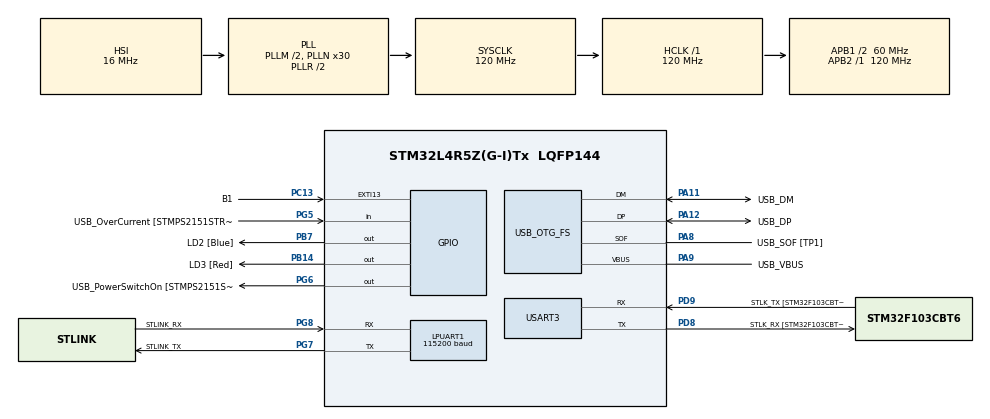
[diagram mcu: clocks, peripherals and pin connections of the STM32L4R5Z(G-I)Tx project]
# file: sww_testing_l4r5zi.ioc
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LPUART1.BaudRate=115200
LPUART1.StopBits=UART_STOPBITS_2
LPUART1.WordLength=UART_WORDLENGTH_8B
Mcu.Family=STM32L4
Mcu.Name=STM32L4R5Z(G-I)Tx
Mcu.Package=LQFP144
NVIC.PriorityGroup=NVIC_PRIORITYGROUP_4
PA10.GPIO_Label=USB_ID
PA10.Signal=USB_OTG_FS_ID
PA11.GPIO_Label=USB_DM
PA11.Mode=Device_Only
PA11.Signal=USB_OTG_FS_DM
PA12.GPIO_Label=USB_DP
PA12.Mode=Device_Only
PA12.Signal=USB_OTG_FS_DP
PA13\ (JTMS/SWDIO).GPIO_Label=TMS
PA13\ (JTMS/SWDIO).Mode=Trace_Asynchronous_SW
PA13\ (JTMS/SWDIO).Signal=SYS_JTMS-SWDIO
PA14\ (JTCK/SWCLK).GPIO_Label=TCK
PA14\ (JTCK/SWCLK).Mode=Trace_Asynchronous_SW
PA14\ (JTCK/SWCLK).Signal=SYS_JTCK-SWCLK
PA8.GPIO_Label=USB_SOF [TP1]
PA8.Mode=Activate_SOF_FS
PA8.Signal=USB_OTG_FS_SOF
PA9.GPIO_Label=USB_VBUS
PA9.Mode=Activate_VBUS
PA9.Signal=USB_OTG_FS_VBUS
PB14.GPIO_Label=LD3 [Red]
PB14.Signal=GPIO_Output
PB3\ (JTDO/TRACESWO).GPIO_Label=SWO
PB3\ (JTDO/TRACESWO).Mode=Trace_Asynchronous_SW
PB3\ (JTDO/TRACESWO).Signal=SYS_JTDO-SWO
PB7.GPIO_Label=LD2 [Blue]
PB7.Signal=GPIO_Output
PC13.GPIO_Label=B1
PC13.Signal=GPXTI13
PC14-OSC32_IN\ (PC14).Mode=LSE-External-Oscillator
PC14-OSC32_IN\ (PC14).Signal=RCC_OSC32_IN
PC15-OSC32_OUT\ (PC15).Mode=LSE-External-Oscillator
PC15-OSC32_OUT\ (PC15).Signal=RCC_OSC32_OUT
PD8.GPIO_Label=STLK_RX [STM32F103CBT6_PA3]
PD8.Mode=Asynchronous
PD8.Signal=USART3_TX
PD9.GPIO_Label=STLK_TX [STM32F103CBT6_PA2]
PD9.Mode=Asynchronous
PD9.Signal=USART3_RX
PG5.GPIO_Label=USB_OverCurrent [STMPS2151STR_FAULT]
PG5.Signal=GPIO_Input
PG6.GPIO_Label=USB_PowerSwitchOn [STMPS2151STR_EN]
PG6.Signal=GPIO_Output
PG7.GPIO_Label=STLINK_TX
PG7.Mode=Asynchronous
PG7.Signal=LPUART1_TX
PG8.GPIO_Label=STLINK_RX
PG8.Mode=Asynchronous
PG8.Signal=LPUART1_RX
PH0-OSC_IN\ (PH0).Signal=RCC_OSC_IN
PH1-OSC_OUT\ (PH1).Signal=RCC_OSC_OUT
ProjectManager.HeapSize=0x800
ProjectManager.StackSize=0x800
ProjectManager.TargetToolchain=STM32CubeIDE
RCC.48MHZClocksFreq_Value=24000000
RCC.ADCFreq_Value=96000000
RCC.AHBFreq_Value=120000000
RCC.APB1CLKDivider=RCC_HCLK_DIV2
RCC.APB1Freq_Value=60000000
RCC.APB1TimFreq_Value=120000000
RCC.APB2Freq_Value=120000000
RCC.APB2TimFreq_Value=120000000
RCC.CK48CLockSelection=RCC_USBCLKSOURCE_HSI48
RCC.CortexFreq_Value=120000000
RCC.HCLKFreq_Value=120000000
RCC.HSE_VALUE=8000000
RCC.HSI48_VALUE=48000000
RCC.HSI_VALUE=16000000
RCC.MSI_VALUE=4000000
RCC.PLLM1=2
RCC.PLLMUL=RCC_PLL_MUL9
RCC.PLLN=30
RCC.PLLSAI1N=12
RCC.PLLSourceVirtual=RCC_PLLSOURCE_HSI
RCC.PRESCALERUSB=RCC_USBCLKSOURCE_PLL_DIV1_5
RCC.SYSCLKFreq_VALUE=120000000
RCC.SYSCLKSource=RCC_SYSCLKSOURCE_PLLCLK
RCC.SYSCLKSourceVirtual=RCC_SYSCLKSOURCE_PLLCLK
RCC.USBFreq_Value=48000000
RCC.VCOOutputFreq_Value=240000000
STMicroelectronics.X-CUBE-AI.9.1.0.ActivationBufferSizeList=5836
STMicroelectronics.X-CUBE-AI.9.1.0.ActivationBuffers=pool0
STMicroelectronics.X-CUBE-AI.9.1.0.ActivationNames=pool0
STMicroelectronics.X-CUBE-AI.9.1.0.ActivationSizes=AI_SWW_MODEL_DATA_ACTIVATION_1_SIZE
STMicroelectronics.X-CUBE-AI.9.1.0.HeapSize=0x800
STMicroelectronics.X-CUBE-AI.9.1.0.InternalRamActivationBufferMaxSize=AI_SWW_MODEL_DATA_ACTIVATIONS_SIZE
STMicroelectronics.X-CUBE-AI.9.1.0.LatestDirectoryUsed-2c55a473fe2cb7c748ffe10757a75eb16c549e0110a52bf4822234593712c284=/Users/jeremy/dev/tiny_mlperf/tiny_jhsyn/benchmark/training/streaming_wakeword/trained_models
STMicroelectronics.X-CUBE-AI.9.1.0.MaximumNumberOfInputLayer=1
STMicroelectronics.X-CUBE-AI.9.1.0.MaximumNumberOfOutputLayer=1
STMicroelectronics.X-CUBE-AI.9.1.0.MaximumSizeOfInputLayer=1
STMicroelectronics.X-CUBE-AI.9.1.0.MaximumSizeOfOutputLayer=1
STMicroelectronics.X-CUBE-AI.9.1.0.ModelActualCompression-2c55a473fe2cb7c748ffe10757a75eb16c549e0110a52bf4822234593712c284=0.0
STMicroelectronics.X-CUBE-AI.9.1.0.ModelCompression-2c55a473fe2cb7c748ffe10757a75eb16c549e0110a52bf4822234593712c284=None
STMicroelectronics.X-CUBE-AI.9.1.0.ModelFlashOccupation-2c55a473fe2cb7c748ffe10757a75eb16c549e0110a52bf4822234593712c284=23520
STMicroelectronics.X-CUBE-AI.9.1.0.ModelHashList=2c55a473fe2cb7c748ffe10757a75eb16c549e0110a52bf4822234593712c284
STMicroelectronics.X-CUBE-AI.9.1.0.ModelKind-2c55a473fe2cb7c748ffe10757a75eb16c549e0110a52bf4822234593712c284=TFLITE
STMicroelectronics.X-CUBE-AI.9.1.0.ModelMacc-2c55a473fe2cb7c748ffe10757a75eb16c549e0110a52bf4822234593712c284=652551
STMicroelectronics.X-CUBE-AI.9.1.0.ModelName-2c55a473fe2cb7c748ffe10757a75eb16c549e0110a52bf4822234593712c284=sww_model
STMicroelectronics.X-CUBE-AI.9.1.0.ModelNameList=sww_model
STMicroelectronics.X-CUBE-AI.9.1.0.ModelRamOccupation-2c55a473fe2cb7c748ffe10757a75eb16c549e0110a52bf4822234593712c284=5836
STMicroelectronics.X-CUBE-AI.9.1.0.ModelStructureFile-2c55a473fe2cb7c748ffe10757a75eb16c549e0110a52bf4822234593712c284=/Users/jeremy/dev/tiny_mlperf/tiny_jhsyn/benchmark/training/streaming_wakeword/trained_models/strm_ww_int8.tflite
STMicroelectronics.X-CUBE-AI.9.1.0.ModelType-2c55a473fe2cb7c748ffe10757a75eb16c549e0110a52bf4822234593712c284=STM32Cube.AI MCU runtime
STMicroelectronics.X-CUBE-AI.9.1.0.ReadyForCodeGeneration=true
STMicroelectronics.X-CUBE-AI.9.1.0.StackSize=0x800
STMicroelectronics.X-CUBE-AI.9.1.0.WorkingBufferStartAddrList=0xFFFFFFFF
STMicroelectronics.X-CUBE-AI.9.1.0.XAaCUBEAaAICcArtificialOoIntelligenceJjCore=true
STMicroelectronics.X-CUBE-AI.9.1.0.copyWeightToRam=false
STMicroelectronics.X-CUBE-AI.9.1.0.copyWeightToRam-2c55a473fe2cb7c748ffe10757a75eb16c549e0110a52bf4822234593712c284=false
STMicroelectronics.X-CUBE-AI.9.1.0.customLayerConfigEnabled=false
STMicroelectronics.X-CUBE-AI.9.1.0.customLayerConfigEnabled-2c55a473fe2cb7c748ffe10757a75eb16c549e0110a52bf4822234593712c284=false
STMicroelectronics.X-CUBE-AI.9.1.0.noOnnxIoTranspose=false
STMicroelectronics.X-CUBE-AI.9.1.0.noOnnxIoTranspose-2c55a473fe2cb7c748ffe10757a75eb16c549e0110a52bf4822234593712c284=false
STMicroelectronics.X-CUBE-AI.9.1.0.outputDirectory=/Users/jeremy/.stm32cubemx/sww_model_output
STMicroelectronics.X-CUBE-AI.9.1.0.useInputAllocation=true
STMicroelectronics.X-CUBE-AI.9.1.0.useInputAllocation-2c55a473fe2cb7c748ffe10757a75eb16c549e0110a52bf4822234593712c284=true
STMicroelectronics.X-CUBE-AI.9.1.0.useOutputAllocation=true
STMicroelectronics.X-CUBE-AI.9.1.0.useOutputAllocation-2c55a473fe2cb7c748ffe10757a75eb16c549e0110a52bf4822234593712c284=true
USART3.VirtualMode-Asynchronous=VM_ASYNC
USB_OTG_FS.VirtualMode=Device_Only
VP_STMicroelectronics.X-CUBE-AI_VS_ArtificialOoIntelligenceJjXAaCUBEAaAI_9.1.0.Mode=ArtificialOoIntelligenceJjXAaCUBEAaAI
board=NUCLEO-L4R5ZI

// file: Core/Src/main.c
/* USER CODE BEGIN Header */
/**
  ******************************************************************************
  * @file           : main.c
  * @brief          : Main program body
  ******************************************************************************
  * @attention
  *
  * Copyright (c) 2025 STMicroelectronics.
  * All rights reserved.
  *
  * This software is licensed under terms that can be found in the LICENSE file
  * in the root directory of this software component.
  * If no LICENSE file comes with this software, it is provided AS-IS.
  *
  ******************************************************************************
  */
/* USER CODE END Header */
#include "main.h"

/* USER CODE BEGIN Includes */

#include <string.h>
#include <stdlib.h>
#include <stdio.h>
#include <stdarg.h>

// needed for running the model and/or initializing inference setup
#include "sww_model.h"
#include "sww_model_data.h"
#include "model_test_inputs.h"

#include "sww_util.h"

/* USER CODE END Includes */

UART_HandleTypeDef hlpuart1;
UART_HandleTypeDef huart3;

PCD_HandleTypeDef hpcd_USB_OTG_FS;

void SystemClock_Config(void);
static void MX_GPIO_Init(void);
static void MX_LPUART1_UART_Init(void);
static void MX_USART3_UART_Init(void);
static void MX_USB_OTG_FS_PCD_Init(void);

/* USER CODE BEGIN 0 */
// These defines and this function are to get printf() working
#ifdef __GNUC__
#define PUTCHAR_PROTOTYPE int __io_putchar(int ch)
#else
#define PUTCHAR_PROTOTYPE int fputc(int ch, FILE *f)
#endif

PUTCHAR_PROTOTYPE
{
  HAL_UART_Transmit(&hlpuart1, (uint8_t *)&ch, 1, HAL_MAX_DELAY);
  return ch;
}

/* USER CODE END 0 */

int main(void)
{

  /* USER CODE BEGIN 1 */
  // And for UART (over USB) connection to host
  uint32_t uart_timeout_ms = 200;
  uint32_t uart_status;
  /* USER CODE END 1 */

  /* MCU Configuration--------------------------------------------------------*/

  /* Reset of all peripherals, Initializes the Flash interface and the Systick. */
  HAL_Init();

  /* Configure the system clock */
  SystemClock_Config();

  /* Initialize all configured peripherals */
  MX_GPIO_Init();
  MX_LPUART1_UART_Init();
  MX_USART3_UART_Init();
  MX_USB_OTG_FS_PCD_Init();

  /* Infinite loop */
  /* USER CODE BEGIN WHILE */
  aiInit();
  char ch_from_uart= (char) 0;

  while (1)
  {
	  uart_status = HAL_UART_Receive(&hlpuart1, (uint8_t *)&ch_from_uart, 1, uart_timeout_ms);
	  if(uart_status == HAL_OK) {// otherwise timeout => no key input
		  ee_serial_callback(ch_from_uart);
	  }
    /* USER CODE END WHILE */

  }
}

void SystemClock_Config(void)
{
  RCC_OscInitTypeDef RCC_OscInitStruct = {0};
  RCC_ClkInitTypeDef RCC_ClkInitStruct = {0};

  /** Configure the main internal regulator output voltage
  */
  if (HAL_PWREx_ControlVoltageScaling(PWR_REGULATOR_VOLTAGE_SCALE1_BOOST) != HAL_OK)
  {
    Error_Handler();
  }

  /** Initializes the RCC Oscillators according to the specified parameters
  * in the RCC_OscInitTypeDef structure.
  */
  RCC_OscInitStruct.OscillatorType = RCC_OSCILLATORTYPE_HSI48|RCC_OSCILLATORTYPE_HSI;
  RCC_OscInitStruct.HSIState = RCC_HSI_ON;
  RCC_OscInitStruct.HSI48State = RCC_HSI48_ON;
  RCC_OscInitStruct.HSICalibrationValue = RCC_HSICALIBRATION_DEFAULT;
  RCC_OscInitStruct.PLL.PLLState = RCC_PLL_ON;
  RCC_OscInitStruct.PLL.PLLSource = RCC_PLLSOURCE_HSI;
  RCC_OscInitStruct.PLL.PLLM = 2;
  RCC_OscInitStruct.PLL.PLLN = 30;
  RCC_OscInitStruct.PLL.PLLP = RCC_PLLP_DIV2;
  RCC_OscInitStruct.PLL.PLLQ = RCC_PLLQ_DIV2;
  RCC_OscInitStruct.PLL.PLLR = RCC_PLLR_DIV2;
  if (HAL_RCC_OscConfig(&RCC_OscInitStruct) != HAL_OK)
  {
    Error_Handler();
  }

  /** Initializes the CPU, AHB and APB buses clocks
  */
  RCC_ClkInitStruct.ClockType = RCC_CLOCKTYPE_HCLK|RCC_CLOCKTYPE_SYSCLK
                              |RCC_CLOCKTYPE_PCLK1|RCC_CLOCKTYPE_PCLK2;
  RCC_ClkInitStruct.SYSCLKSource = RCC_SYSCLKSOURCE_PLLCLK;
  RCC_ClkInitStruct.AHBCLKDivider = RCC_SYSCLK_DIV1;
  RCC_ClkInitStruct.APB1CLKDivider = RCC_HCLK_DIV2;
  RCC_ClkInitStruct.APB2CLKDivider = RCC_HCLK_DIV1;

  if (HAL_RCC_ClockConfig(&RCC_ClkInitStruct, FLASH_LATENCY_5) != HAL_OK)
  {
    Error_Handler();
  }
}

static void MX_LPUART1_UART_Init(void)
{

  hlpuart1.Instance = LPUART1;
  hlpuart1.Init.BaudRate = 115200;
  hlpuart1.Init.WordLength = UART_WORDLENGTH_8B;
  hlpuart1.Init.StopBits = UART_STOPBITS_2;
  hlpuart1.Init.Parity = UART_PARITY_NONE;
  hlpuart1.Init.Mode = UART_MODE_TX_RX;
  hlpuart1.Init.HwFlowCtl = UART_HWCONTROL_NONE;
  hlpuart1.Init.OneBitSampling = UART_ONE_BIT_SAMPLE_DISABLE;
  hlpuart1.Init.ClockPrescaler = UART_PRESCALER_DIV1;
  hlpuart1.AdvancedInit.AdvFeatureInit = UART_ADVFEATURE_NO_INIT;
  hlpuart1.FifoMode = UART_FIFOMODE_DISABLE;
  if (HAL_UART_Init(&hlpuart1) != HAL_OK)
  {
    Error_Handler();
  }
  if (HAL_UARTEx_SetTxFifoThreshold(&hlpuart1, UART_TXFIFO_THRESHOLD_1_8) != HAL_OK)
  {
    Error_Handler();
  }
  if (HAL_UARTEx_SetRxFifoThreshold(&hlpuart1, UART_RXFIFO_THRESHOLD_1_8) != HAL_OK)
  {
    Error_Handler();
  }
  if (HAL_UARTEx_DisableFifoMode(&hlpuart1) != HAL_OK)
  {
    Error_Handler();
  }

}

static void MX_USART3_UART_Init(void)
{

  huart3.Instance = USART3;
  huart3.Init.BaudRate = 115200;
  huart3.Init.WordLength = UART_WORDLENGTH_8B;
  huart3.Init.StopBits = UART_STOPBITS_1;
  huart3.Init.Parity = UART_PARITY_NONE;
  huart3.Init.Mode = UART_MODE_TX_RX;
  huart3.Init.HwFlowCtl = UART_HWCONTROL_NONE;
  huart3.Init.OverSampling = UART_OVERSAMPLING_16;
  huart3.Init.OneBitSampling = UART_ONE_BIT_SAMPLE_DISABLE;
  huart3.Init.ClockPrescaler = UART_PRESCALER_DIV1;
  huart3.AdvancedInit.AdvFeatureInit = UART_ADVFEATURE_NO_INIT;
  if (HAL_UART_Init(&huart3) != HAL_OK)
  {
    Error_Handler();
  }
  if (HAL_UARTEx_SetTxFifoThreshold(&huart3, UART_TXFIFO_THRESHOLD_1_8) != HAL_OK)
  {
    Error_Handler();
  }
  if (HAL_UARTEx_SetRxFifoThreshold(&huart3, UART_RXFIFO_THRESHOLD_1_8) != HAL_OK)
  {
    Error_Handler();
  }
  if (HAL_UARTEx_DisableFifoMode(&huart3) != HAL_OK)
  {
    Error_Handler();
  }

}

static void MX_USB_OTG_FS_PCD_Init(void)
{

  hpcd_USB_OTG_FS.Instance = USB_OTG_FS;
  hpcd_USB_OTG_FS.Init.dev_endpoints = 6;
  hpcd_USB_OTG_FS.Init.speed = PCD_SPEED_FULL;
  hpcd_USB_OTG_FS.Init.phy_itface = PCD_PHY_EMBEDDED;
  hpcd_USB_OTG_FS.Init.Sof_enable = ENABLE;
  hpcd_USB_OTG_FS.Init.low_power_enable = DISABLE;
  hpcd_USB_OTG_FS.Init.lpm_enable = DISABLE;
  hpcd_USB_OTG_FS.Init.battery_charging_enable = ENABLE;
  hpcd_USB_OTG_FS.Init.use_dedicated_ep1 = DISABLE;
  hpcd_USB_OTG_FS.Init.vbus_sensing_enable = ENABLE;
  if (HAL_PCD_Init(&hpcd_USB_OTG_FS) != HAL_OK)
  {
    Error_Handler();
  }

}

static void MX_GPIO_Init(void)
{
  GPIO_InitTypeDef GPIO_InitStruct = {0};

  /* GPIO Ports Clock Enable */
  __HAL_RCC_GPIOC_CLK_ENABLE();
  __HAL_RCC_GPIOH_CLK_ENABLE();
  __HAL_RCC_GPIOB_CLK_ENABLE();
  __HAL_RCC_GPIOD_CLK_ENABLE();
  __HAL_RCC_GPIOG_CLK_ENABLE();
  HAL_PWREx_EnableVddIO2();
  __HAL_RCC_GPIOA_CLK_ENABLE();

  /*Configure GPIO pin Output Level */
  HAL_GPIO_WritePin(GPIOB, LD3_Pin|LD2_Pin, GPIO_PIN_RESET);

  /*Configure GPIO pin Output Level */
  HAL_GPIO_WritePin(USB_PowerSwitchOn_GPIO_Port, USB_PowerSwitchOn_Pin, GPIO_PIN_RESET);

  /*Configure GPIO pin : B1_Pin */
  GPIO_InitStruct.Pin = B1_Pin;
  GPIO_InitStruct.Mode = GPIO_MODE_IT_RISING;
  GPIO_InitStruct.Pull = GPIO_NOPULL;
  HAL_GPIO_Init(B1_GPIO_Port, &GPIO_InitStruct);

  /*Configure GPIO pins : LD3_Pin LD2_Pin */
  GPIO_InitStruct.Pin = LD3_Pin|LD2_Pin;
  GPIO_InitStruct.Mode = GPIO_MODE_OUTPUT_PP;
  GPIO_InitStruct.Pull = GPIO_NOPULL;
  GPIO_InitStruct.Speed = GPIO_SPEED_FREQ_LOW;
  HAL_GPIO_Init(GPIOB, &GPIO_InitStruct);

  /*Configure GPIO pin : USB_OverCurrent_Pin */
  GPIO_InitStruct.Pin = USB_OverCurrent_Pin;
  GPIO_InitStruct.Mode = GPIO_MODE_INPUT;
  GPIO_InitStruct.Pull = GPIO_NOPULL;
  HAL_GPIO_Init(USB_OverCurrent_GPIO_Port, &GPIO_InitStruct);

  /*Configure GPIO pin : USB_PowerSwitchOn_Pin */
  GPIO_InitStruct.Pin = USB_PowerSwitchOn_Pin;
  GPIO_InitStruct.Mode = GPIO_MODE_OUTPUT_PP;
  GPIO_InitStruct.Pull = GPIO_NOPULL;
  GPIO_InitStruct.Speed = GPIO_SPEED_FREQ_LOW;
  HAL_GPIO_Init(USB_PowerSwitchOn_GPIO_Port, &GPIO_InitStruct);

}

void Error_Handler(void)
{
  __disable_irq();
  while (1)
  {
  }
}
